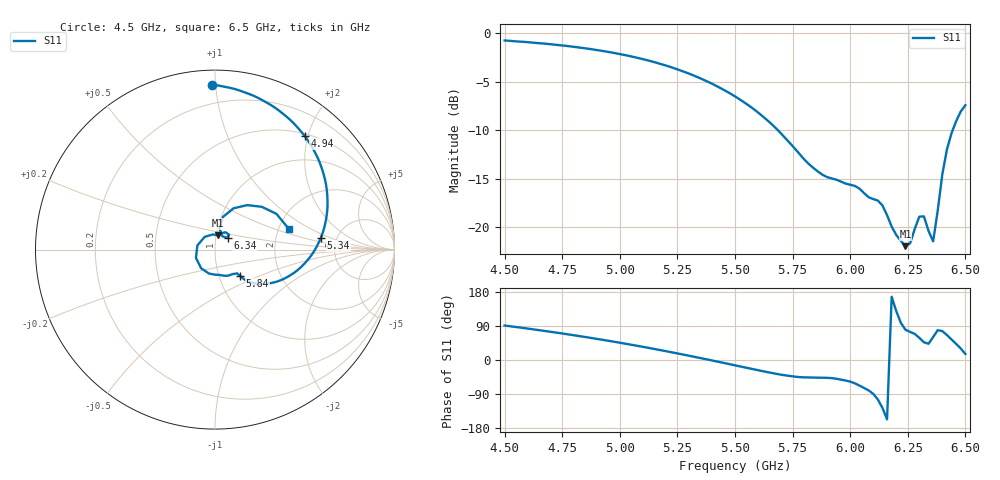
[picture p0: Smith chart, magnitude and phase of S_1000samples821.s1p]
! TOUCHSTONE file generated by CST MICROWAVE STUDIO
! Date and time: Sat Oct 29 12:22:22 2022
! Project name: L.cst
! Parameters = {Di=1.27; Epsilon_r=1.56; InnerDiameter=1.27; Length=2; Lf=10; Lg=60; OuterConductorThickness=0.2921; OuterDiameter=3.6; Wf=3; Wp=41.2; de=1.5; df=6.8; g=0.8; gx=3.59614; gy=3.91048; h=2.34; hf=1.524; px=14.3712; py=13.7982; w=9.7; wx=10.775; wy=9.88768}
! Header version: 2018
! Port assignment regex: !\s*Touchstone port\s*([0-9]+)\s*=\s*(CST MWS port|CST DS port)\s*([0-9]+|Zmin|Zmax)\s*\(\"(.*)\"\)(\s*mode\s*([0-9]+))?.*
! Touchstone port assignment:
! Touchstone port 1 = CST MWS port 1 ("")
# GHz S DB R 50
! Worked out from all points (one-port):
!   101 points, 4.5 GHz to 6.5 GHz, reference 50 ohm
!   lowest |S11| = -21.9 dB at 6.24 GHz (marker M1), VSWR 1.17, Z = 50.8 + j8.05 ohm
!   |S11| at or under -10 dB: 5.687 GHz to 6.444 GHz (757.7 MHz wide, 12.5 % of centre)
!   S11 on the Smith chart (normalised r, x): 4.5 GHz: 0.08, +0.98; 4.94 GHz: 0.54, +1.94; 5.34 GHz: 3.75, +0.76; 5.84 GHz: 1.26, -0.39; 6.34 GHz: 1.14, +0.15; 6.5 GHz: 2.26, +0.65
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4.5  -0.73 91.0
4.62  -0.95 81.2
4.76  -1.27 69.1
4.94  -1.87 51.8
5  -2.13 45.6
5.14  -2.90 30.2
5.26  -3.79 16.2
5.34  -4.54 6.3
5.5  -6.49 -14.1
5.62  -8.55 -29.4
5.76  -11.88 -43.9
5.84  -13.87 -46.3
6  -15.61 -57.1
6.12  -17.23 -104.2
6.16  -18.74 -156.6
6.2  -20.78 128.9
6.24  -21.94 79.9
6.26  -21.64 74.1
6.3  -18.89 58.4
6.32  -18.87 46.7
6.34  -20.36 42.9
6.36  -21.44 60.6
6.38  -18.26 78.7
6.4  -14.51 76.2
6.42  -11.96 65.8
6.46  -9.04 42.5
6.48  -8.05 30.2
6.5  -7.41 16.0
